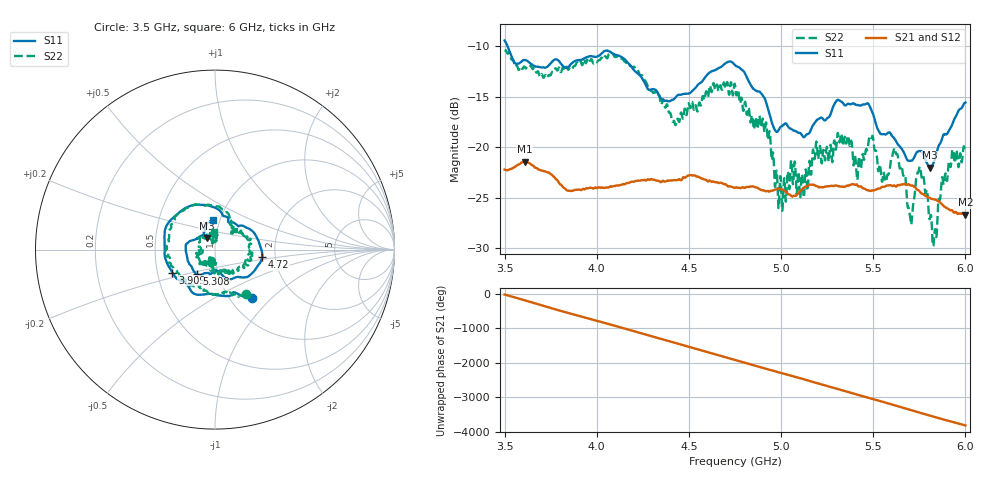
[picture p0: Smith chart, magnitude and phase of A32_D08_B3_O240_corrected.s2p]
! Created with skrf 1.9.0 (http://scikit-rf.org).
# Hz S RI R 50.0
!freq ReS11 ImS11 ReS21 ImS21 ReS12 ImS12 ReS22 ImS22
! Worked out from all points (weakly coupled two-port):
!   1601 points, 3.5 GHz to 6 GHz, reference 50 ohm
!   highest |S21| = -21.43 dB at 3.609 GHz (marker M1); lowest = -26.7 dB at 6 GHz (marker M2)
!   lowest |S11| = -22.0 dB at 5.808 GHz (marker M3), VSWR 1.17, Z = 45.3 + j5.93 ohm
!   |S11| at or under -10 dB: 3.516 GHz to end of sweep
!   |S22| runs from -29.8 to -10.4 dB; largest |S21 - S12| = 0.001
!   S11 on the Smith chart (normalised r, x): 3.5 GHz: 1.26, -0.76; 3.909 GHz: 0.60, -0.17; 4.72 GHz: 1.70, -0.16; 5.308 GHz: 0.79, -0.22; 6 GHz: 0.92, +0.32
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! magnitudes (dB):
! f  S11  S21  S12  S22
! 3.5 GHz  -9.4  -22.2  -22.2  -10.4
! 3.609 GHz  -11.4  -21.4  -21.4  -12.1
! 3.909 GHz  -11.4  -24.2  -24.2  -11.5
! 3.917 GHz  -11.3  -24.2  -24.2  -11.8
! 4.334 GHz  -14.7  -23.3  -23.3  -14.8
! 4.422 GHz  -15.2  -23.3  -23.3  -17.5
! 4.72 GHz  -11.5  -23.9  -23.9  -14.7
! 4.75 GHz  -11.9  -24.0  -24.0  -13.8
! 4.928 GHz  -16.2  -24.3  -24.3  -19.3
! 4.997 GHz  -18.0  -24.2  -24.2  -22.9
! 5.167 GHz  -18.0  -23.7  -23.7  -21.7
! 5.308 GHz  -15.3  -23.9  -23.8  -18.6
! 5.42 GHz  -15.8  -23.9  -23.9  -21.3
! 5.489 GHz  -16.3  -24.3  -24.3  -19.2
! 5.584 GHz  -18.6  -23.8  -23.8  -22.6
! 5.623 GHz  -19.4  -23.9  -23.9  -20.6
! 5.702 GHz  -21.3  -23.8  -23.8  -27.1
! 5.753 GHz  -20.4  -24.4  -24.4  -21.9
! 5.808 GHz  -22.0  -25.0  -25.0  -27.0
! 5.833 GHz  -21.3  -25.2  -25.2  -28.5
! 5.881 GHz  -18.8  -25.8  -25.8  -23.7
! 6 GHz  -15.6  -26.7  -26.7  -20.3
